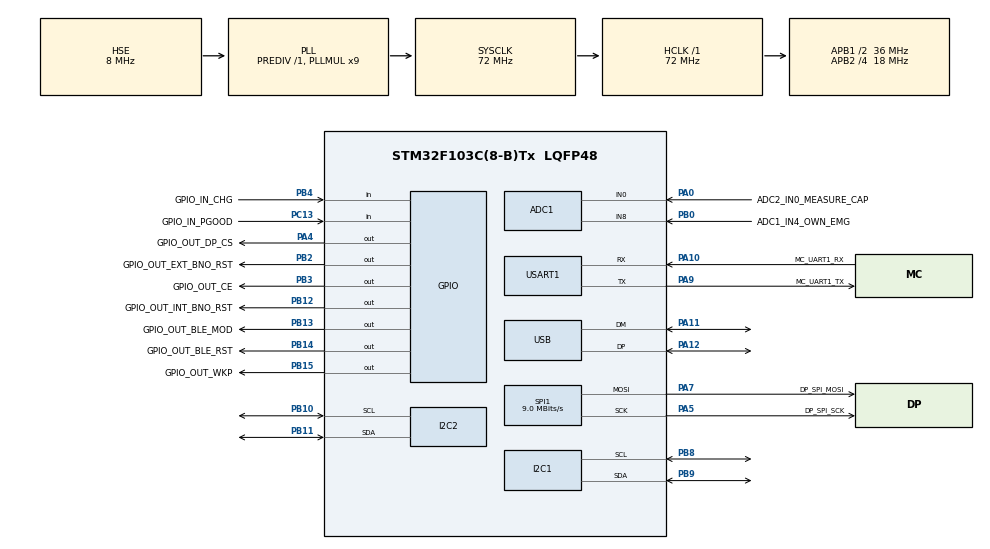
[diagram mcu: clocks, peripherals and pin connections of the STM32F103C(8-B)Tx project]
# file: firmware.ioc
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ADC1.Channel-0\#ChannelRegularConversion=ADC_CHANNEL_0
ADC1.NbrOfConversionFlag=1
ADC1.Rank-0\#ChannelRegularConversion=1
ADC1.SamplingTime-0\#ChannelRegularConversion=ADC_SAMPLETIME_1CYCLE_5
ADC1.master=1
ADC2.Channel-0\#ChannelRegularConversion=ADC_CHANNEL_0
ADC2.NbrOfConversionFlag=1
ADC2.Rank-0\#ChannelRegularConversion=1
ADC2.SamplingTime-0\#ChannelRegularConversion=ADC_SAMPLETIME_1CYCLE_5
Mcu.Family=STM32F1
Mcu.Name=STM32F103C(8-B)Tx
Mcu.Package=LQFP48
NVIC.PriorityGroup=NVIC_PRIORITYGROUP_4
PA0-WKUP.GPIO_Label=ADC2_IN0_MEASURE_CAP
PA0-WKUP.Signal=ADCx_IN0
PA10.GPIO_Label=MC_UART1_RX
PA10.Mode=Asynchronous
PA10.Signal=USART1_RX
PA11.Mode=Device
PA11.Signal=USB_DM
PA12.Mode=Device
PA12.Signal=USB_DP
PA13.Mode=Serial_Wire
PA13.Signal=SYS_JTMS-SWDIO
PA14.Mode=Serial_Wire
PA14.Signal=SYS_JTCK-SWCLK
PA4.GPIO_Label=GPIO_OUT_DP_CS
PA4.GPIO_PuPd=GPIO_NOPULL
PA4.GPIO_Speed=GPIO_SPEED_FREQ_LOW
PA4.PinState=GPIO_PIN_SET
PA4.Signal=GPIO_Output
PA5.GPIO_Label=DP_SPI_SCK
PA5.Mode=TX_Only_Simplex_Unidirect_Master
PA5.Signal=SPI1_SCK
PA7.GPIO_Label=DP_SPI_MOSI
PA7.Mode=TX_Only_Simplex_Unidirect_Master
PA7.Signal=SPI1_MOSI
PA9.GPIO_Label=MC_UART1_TX
PA9.Mode=Asynchronous
PA9.Signal=USART1_TX
PB0.GPIO_Label=ADC1_IN4_OWN_EMG
PB0.Signal=ADCx_IN8
PB10.Mode=I2C
PB10.Signal=I2C2_SCL
PB11.Mode=I2C
PB11.Signal=I2C2_SDA
PB12.GPIO_Label=GPIO_OUT_INT_BNO_RST
PB12.GPIO_PuPd=GPIO_NOPULL
PB12.PinState=GPIO_PIN_SET
PB12.Signal=GPIO_Output
PB13.GPIO_Label=GPIO_OUT_BLE_MOD
PB13.PinState=GPIO_PIN_SET
PB13.Signal=GPIO_Output
PB14.GPIO_Label=GPIO_OUT_BLE_RST
PB14.PinState=GPIO_PIN_SET
PB14.Signal=GPIO_Output
PB15.GPIO_Label=GPIO_OUT_WKP
PB15.Signal=GPIO_Output
PB2.GPIO_Label=GPIO_OUT_EXT_BNO_RST
PB2.PinState=GPIO_PIN_SET
PB2.Signal=GPIO_Output
PB3.GPIO_Label=GPIO_OUT_CE
PB3.Signal=GPIO_Output
PB4.GPIO_Label=GPIO_IN_CHG
PB4.GPIO_PuPd=GPIO_PULLUP
PB4.Signal=GPIO_Input
PB8.Mode=I2C
PB8.Signal=I2C1_SCL
PB9.Mode=I2C
PB9.Signal=I2C1_SDA
PC13-TAMPER-RTC.GPIO_Label=GPIO_IN_PGOOD
PC13-TAMPER-RTC.GPIO_PuPd=GPIO_PULLUP
PC13-TAMPER-RTC.Signal=GPIO_Input
PD0-OSC_IN.Mode=HSE-External-Oscillator
PD0-OSC_IN.Signal=RCC_OSC_IN
PD1-OSC_OUT.Mode=HSE-External-Oscillator
PD1-OSC_OUT.Signal=RCC_OSC_OUT
ProjectManager.HeapSize=0x200
ProjectManager.StackSize=0x400
ProjectManager.TargetToolchain=Makefile
RCC.AHBFreq_Value=72000000
RCC.APB1CLKDivider=RCC_HCLK_DIV2
RCC.APB1Freq_Value=36000000
RCC.APB1TimFreq_Value=72000000
RCC.APB2CLKDivider=RCC_HCLK_DIV4
RCC.APB2Freq_Value=18000000
RCC.APB2TimFreq_Value=36000000
RCC.HCLKFreq_Value=72000000
RCC.PLLMUL=RCC_PLL_MUL9
RCC.SYSCLKFreq_VALUE=72000000
RCC.SYSCLKSource=RCC_SYSCLKSOURCE_PLLCLK
RCC.USBFreq_Value=48000000
RCC.USBPrescaler=RCC_USBCLKSOURCE_PLL_DIV1_5
SH.ADCx_IN0.0=ADC1_IN0,IN0
SH.ADCx_IN0.1=ADC2_IN0,IN0
SH.ADCx_IN8.0=ADC1_IN8,IN8
SPI1.CalculateBaudRate=9.0 MBits/s
SPI1.Direction=SPI_DIRECTION_2LINES
SPI1.Mode=SPI_MODE_MASTER
SPI1.VirtualType=VM_MASTER
USART1.VirtualMode=VM_ASYNC
board=custom

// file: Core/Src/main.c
/* USER CODE BEGIN Header */
/**
  ******************************************************************************
  * @file           : main.c
  * @brief          : Main program body
  ******************************************************************************
  * @attention
  *
  * Copyright (c) 2026 STMicroelectronics.
  * All rights reserved.
  *
  * This software is licensed under terms that can be found in the LICENSE file
  * in the root directory of this software component.
  * If no LICENSE file comes with this software, it is provided AS-IS.
  *
  ******************************************************************************
  */
/* USER CODE END Header */
#include "main.h"
#include "adc.h"
#include "i2c.h"
#include "spi.h"
#include "usart.h"
#include "gpio.h"

/* USER CODE BEGIN Includes */
#include "usb.h"     /* чтобы вызов MX_USB_PCD_Init ниже имел объявление: Cube его в список include не положил */
#include "FW_init.h" /* старт устройства. Разбор шагов живёт в FW_init */
#include "FW_battery.h" /* в ADVERTISING раз в секунду снимок PGOOD, CHG и кода PA0 */
#include "FW_ble.h"  /* в цикле только опрос уже принятых байт, логика соединения в FW_ble */
#include "tim.h"     /* TIM2 — сетка 5 мс, TIM3 — будущий запуск АЦП ЭМГ */
#include "fw_hw.h"   /* сброс BNO: на плате PB2, макетный PB1 не поднимаем */
#include "FW_sync.h" /* сетка 5 мс, кадр питания и окно измерения 10 мс */
#include "FW_angle.h"
#include "FW_states.h" /* раз в 5 с имя режима в USB */
/* USER CODE END Includes */

void SystemClock_Config(void);

int main(void)
{

  /* MCU Configuration--------------------------------------------------------*/

  /* Reset of all peripherals, Initializes the Flash interface and the Systick. */
  HAL_Init();

  /* Configure the system clock */
  SystemClock_Config();

  /* Initialize all configured peripherals */
  MX_GPIO_Init();
  MX_I2C2_Init();
  MX_ADC1_Init();
  MX_ADC2_Init();
  MX_I2C1_Init();
  MX_USART1_UART_Init();
  MX_USB_PCD_Init();
  MX_SPI1_Init();
  /* USER CODE BEGIN 2 */
  FW_TIM2_Init();
  FW_TIM3_Init();

  /* Макет Blue Pill: сброс внешнего BNO на PB1. На плате эту ножку не трогаем. */
  // fw_hw_ext_bno_rst_demo_init();

  FW_init_run();
  FW_sync_start();
  /* USER CODE END 2 */

  /* Infinite loop */
  while (1)
  {

    /* USER CODE BEGIN 3 */
    /* Сначала окно ЭМГ и кадр, затем очередь UART: STOP и питание забирает опрос BLE. */
    FW_sync_poll();
    FW_battery_poll();
    FW_ble_poll();
    FW_battery_debug_poll();
    FW_angle_poll();
    FW_states_usb_mode();
  }
  /* USER CODE END 3 */
}

void SystemClock_Config(void)
{
  RCC_OscInitTypeDef RCC_OscInitStruct = {0};
  RCC_ClkInitTypeDef RCC_ClkInitStruct = {0};
  RCC_PeriphCLKInitTypeDef PeriphClkInit = {0};

  /** Initializes the RCC Oscillators according to the specified parameters
  * in the RCC_OscInitTypeDef structure.
  */
  RCC_OscInitStruct.OscillatorType = RCC_OSCILLATORTYPE_HSE;
  RCC_OscInitStruct.HSEState = RCC_HSE_ON;
  RCC_OscInitStruct.HSEPredivValue = RCC_HSE_PREDIV_DIV1;
  RCC_OscInitStruct.HSIState = RCC_HSI_ON;
  RCC_OscInitStruct.PLL.PLLState = RCC_PLL_ON;
  RCC_OscInitStruct.PLL.PLLSource = RCC_PLLSOURCE_HSE;
  RCC_OscInitStruct.PLL.PLLMUL = RCC_PLL_MUL9;
  if (HAL_RCC_OscConfig(&RCC_OscInitStruct) != HAL_OK)
  {
    Error_Handler();
  }

  /** Initializes the CPU, AHB and APB buses clocks
  */
  RCC_ClkInitStruct.ClockType = RCC_CLOCKTYPE_HCLK|RCC_CLOCKTYPE_SYSCLK
                              |RCC_CLOCKTYPE_PCLK1|RCC_CLOCKTYPE_PCLK2;
  RCC_ClkInitStruct.SYSCLKSource = RCC_SYSCLKSOURCE_PLLCLK;
  RCC_ClkInitStruct.AHBCLKDivider = RCC_SYSCLK_DIV1;
  RCC_ClkInitStruct.APB1CLKDivider = RCC_HCLK_DIV2;
  RCC_ClkInitStruct.APB2CLKDivider = RCC_HCLK_DIV4;

  if (HAL_RCC_ClockConfig(&RCC_ClkInitStruct, FLASH_LATENCY_2) != HAL_OK)
  {
    Error_Handler();
  }
  PeriphClkInit.PeriphClockSelection = RCC_PERIPHCLK_ADC|RCC_PERIPHCLK_USB;
  PeriphClkInit.AdcClockSelection = RCC_ADCPCLK2_DIV2;
  PeriphClkInit.UsbClockSelection = RCC_USBCLKSOURCE_PLL_DIV1_5;
  if (HAL_RCCEx_PeriphCLKConfig(&PeriphClkInit) != HAL_OK)
  {
    Error_Handler();
  }
}

void Error_Handler(void)
{
  /* USER CODE BEGIN Error_Handler_Debug */
  /* Сюда Cube попадает, если его собственная настройка периферии не удалась.
     Пины отсюда не трогаем. */
  __disable_irq();
  while (1)
  {
  }
  /* USER CODE END Error_Handler_Debug */
}
